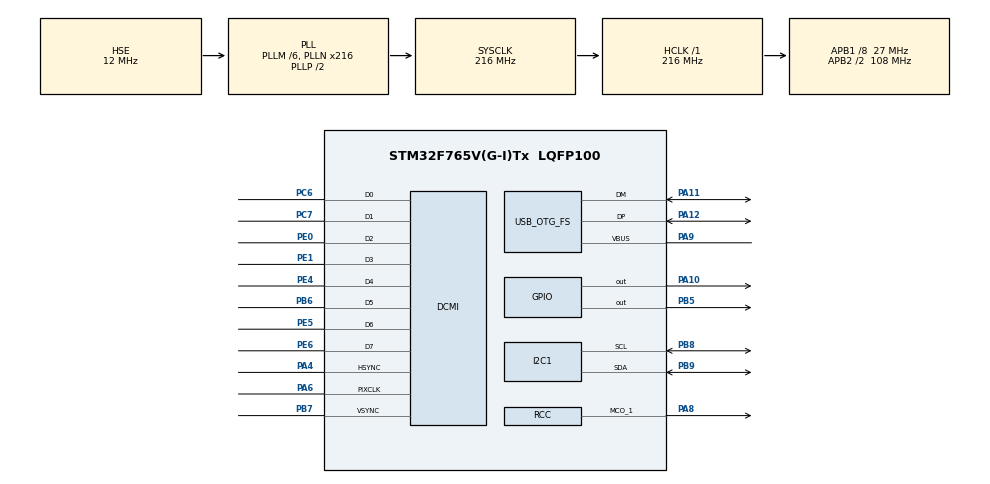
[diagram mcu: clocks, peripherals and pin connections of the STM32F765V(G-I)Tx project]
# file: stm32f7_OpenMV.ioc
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DCMI.PCKPolarity=DCMI_PCKPOLARITY_RISING
DCMI.VSPolarity=DCMI_VSPOLARITY_HIGH
Dma.DCMI.0.Direction=DMA_PERIPH_TO_MEMORY
Dma.DCMI.0.FIFOMode=DMA_FIFOMODE_ENABLE
Dma.DCMI.0.FIFOThreshold=DMA_FIFO_THRESHOLD_FULL
Dma.DCMI.0.Instance=DMA2_Stream1
Dma.DCMI.0.MemBurst=DMA_MBURST_INC4
Dma.DCMI.0.MemDataAlignment=DMA_MDATAALIGN_WORD
Dma.DCMI.0.MemInc=DMA_MINC_ENABLE
Dma.DCMI.0.Mode=DMA_CIRCULAR
Dma.DCMI.0.PeriphBurst=DMA_PBURST_SINGLE
Dma.DCMI.0.PeriphDataAlignment=DMA_PDATAALIGN_WORD
Dma.DCMI.0.PeriphInc=DMA_PINC_DISABLE
Dma.DCMI.0.Priority=DMA_PRIORITY_VERY_HIGH
Dma.Request0=DCMI
I2C1.Timing=0x00606A9B
Mcu.Family=STM32F7
Mcu.Name=STM32F765V(G-I)Tx
Mcu.Package=LQFP100
NVIC.DCMI_IRQn=true\:0\:0\:false\:false\:true\:true
NVIC.DMA2_Stream1_IRQn=true\:0\:0\:false\:false\:true\:false
NVIC.PriorityGroup=NVIC_PRIORITYGROUP_4
PA10.GPIO_ModeDefaultOutputPP=GPIO_MODE_OUTPUT_PP
PA10.GPIO_PuPd=GPIO_NOPULL
PA10.GPIO_Speed=GPIO_SPEED_FREQ_LOW
PA10.PinState=GPIO_PIN_RESET
PA10.Signal=GPIO_Output
PA11.Mode=Device_Only
PA11.Signal=USB_OTG_FS_DM
PA12.Mode=Device_Only
PA12.Signal=USB_OTG_FS_DP
PA4.GPIO_PuPd=GPIO_NOPULL
PA4.Mode=Slave_8_bits_External_Synchro
PA4.Signal=DCMI_HSYNC
PA6.GPIO_PuPd=GPIO_NOPULL
PA6.Mode=Slave_8_bits_External_Synchro
PA6.Signal=DCMI_PIXCLK
PA8.Mode=Clock-out-1
PA8.Signal=RCC_MCO_1
PA9.Mode=Activate_VBUS
PA9.Signal=USB_OTG_FS_VBUS
PB5.GPIO_ModeDefaultOutputPP=GPIO_MODE_OUTPUT_PP
PB5.GPIO_PuPd=GPIO_NOPULL
PB5.GPIO_Speed=GPIO_SPEED_FREQ_LOW
PB5.PinState=GPIO_PIN_RESET
PB5.Signal=GPIO_Output
PB6.GPIO_PuPd=GPIO_NOPULL
PB6.Mode=Slave_8_bits_External_Synchro
PB6.Signal=DCMI_D5
PB7.GPIO_PuPd=GPIO_NOPULL
PB7.Mode=Slave_8_bits_External_Synchro
PB7.Signal=DCMI_VSYNC
PB8.Mode=I2C
PB8.Signal=I2C1_SCL
PB9.Mode=I2C
PB9.Signal=I2C1_SDA
PC6.GPIO_PuPd=GPIO_NOPULL
PC6.Mode=Slave_8_bits_External_Synchro
PC6.Signal=DCMI_D0
PC7.GPIO_PuPd=GPIO_NOPULL
PC7.Mode=Slave_8_bits_External_Synchro
PC7.Signal=DCMI_D1
PE0.GPIO_PuPd=GPIO_NOPULL
PE0.Mode=Slave_8_bits_External_Synchro
PE0.Signal=DCMI_D2
PE1.GPIO_PuPd=GPIO_NOPULL
PE1.Mode=Slave_8_bits_External_Synchro
PE1.Signal=DCMI_D3
PE4.GPIO_PuPd=GPIO_NOPULL
PE4.Mode=Slave_8_bits_External_Synchro
PE4.Signal=DCMI_D4
PE5.GPIO_PuPd=GPIO_NOPULL
PE5.Mode=Slave_8_bits_External_Synchro
PE5.Signal=DCMI_D6
PE6.GPIO_PuPd=GPIO_NOPULL
PE6.Mode=Slave_8_bits_External_Synchro
PE6.Signal=DCMI_D7
PH0/OSC_IN.Mode=HSE-External-Oscillator
PH0/OSC_IN.Signal=RCC_OSC_IN
PH1/OSC_OUT.Mode=HSE-External-Oscillator
PH1/OSC_OUT.Signal=RCC_OSC_OUT
ProjectManager.HeapSize=0x200
ProjectManager.StackSize=0x400
ProjectManager.TargetToolchain=TrueSTUDIO
RCC.AHBFreq_Value=216000000
RCC.APB1CLKDivider=RCC_HCLK_DIV8
RCC.APB1Freq_Value=27000000
RCC.APB1TimFreq_Value=54000000
RCC.APB2CLKDivider=RCC_HCLK_DIV2
RCC.APB2Freq_Value=108000000
RCC.APB2TimFreq_Value=216000000
RCC.CortexFreq_Value=216000000
RCC.HCLKFreq_Value=216000000
RCC.HSE_VALUE=12000000
RCC.HSI_VALUE=16000000
RCC.LSE_VALUE=32768
RCC.PLLM=6
RCC.PLLN=216
RCC.PLLQ=9
RCC.SYSCLKFreq_VALUE=216000000
RCC.SYSCLKSource=RCC_SYSCLKSOURCE_PLLCLK
RCC.USBFreq_Value=48000000
RCC.VCOOutputFreq_Value=432000000
USB_OTG_FS.VirtualMode=Device_Only
board=stm32f7_OpenMV

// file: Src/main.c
/**
  ******************************************************************************
  * @file           : main.c
  * @brief          : Main program body
  ******************************************************************************
  ** This notice applies to any and all portions of this file
  * that are not between comment pairs USER CODE BEGIN and
  * USER CODE END. Other portions of this file, whether
  * inserted by the user or by software development tools
  * are owned by their respective copyright owners.
  *
  * COPYRIGHT(c) 2018 STMicroelectronics
  *
  * Redistribution and use in source and binary forms, with or without modification,
  * are permitted provided that the following conditions are met:
  *   1. Redistributions of source code must retain the above copyright notice,
  *      this list of conditions and the following disclaimer.
  *   2. Redistributions in binary form must reproduce the above copyright notice,
  *      this list of conditions and the following disclaimer in the documentation
  *      and/or other materials provided with the distribution.
  *   3. Neither the name of STMicroelectronics nor the names of its contributors
  *      may be used to endorse or promote products derived from this software
  *      without specific prior written permission.
  *
  * THIS SOFTWARE IS PROVIDED BY THE COPYRIGHT HOLDERS AND CONTRIBUTORS "AS IS"
  * AND ANY EXPRESS OR IMPLIED WARRANTIES, INCLUDING, BUT NOT LIMITED TO, THE
  * IMPLIED WARRANTIES OF MERCHANTABILITY AND FITNESS FOR A PARTICULAR PURPOSE ARE
  * DISCLAIMED. IN NO EVENT SHALL THE COPYRIGHT HOLDER OR CONTRIBUTORS BE LIABLE
  * FOR ANY DIRECT, INDIRECT, INCIDENTAL, SPECIAL, EXEMPLARY, OR CONSEQUENTIAL
  * DAMAGES (INCLUDING, BUT NOT LIMITED TO, PROCUREMENT OF SUBSTITUTE GOODS OR
  * SERVICES; LOSS OF USE, DATA, OR PROFITS; OR BUSINESS INTERRUPTION) HOWEVER
  * CAUSED AND ON ANY THEORY OF LIABILITY, WHETHER IN CONTRACT, STRICT LIABILITY,
  * OR TORT (INCLUDING NEGLIGENCE OR OTHERWISE) ARISING IN ANY WAY OUT OF THE USE
  * OF THIS SOFTWARE, EVEN IF ADVISED OF THE POSSIBILITY OF SUCH DAMAGE.
  *
  ******************************************************************************
  */
#include "main.h"
#include "stm32f7xx_hal.h"
#include "dcmi.h"
#include "dma.h"
#include "i2c.h"

#include "gpio.h"

/* USER CODE BEGIN Includes */
#include "math.h"
#include "jprocess.h"
#include "usb_device.h"
#include "ov7725.h"
#include "ov7725_regs.h"
#include "stm32f7xx_hal_dcmi.h"
#include <stdlib.h>
#include "kmeans.h"
#include "artp.h"

typedef struct
{
  __IO uint32_t ISR;   /*!< DMA interrupt status register */
  __IO uint32_t Reserved0;
  __IO uint32_t IFCR;  /*!< DMA interrupt flag clear register */
} DMA_Base_Registers;
/* USER CODE END Includes */

/* USER CODE BEGIN PV */
/* Private variables ---------------------------------------------------------*/
extern volatile uint8_t play_status;//apenas para debug no loop infinito
extern PCD_HandleTypeDef hpcd_USB_OTG_FS;

#define I2C_TIMEOUT     (1000)
extern const uint8_t default_regs[][2];

extern unsigned char inBMP2[];

//double buffer for DMA destination/JPEG source
uint8_t raw_image0[IMG_HEIGHT][IMG_WIDTH] __attribute__ ((aligned (64),section(".dtcmram")));
uint8_t raw_image1[IMG_HEIGHT][IMG_WIDTH] __attribute__ ((aligned (64),section(".dtcmram")));
uint8_t* raw_image;//intended for jpeg compression
uint8_t* dma_buffer;//intended for DMA xfers

HAL_StatusTypeDef status;
#define NSAMPLES 20
int32_t samples[NSAMPLES];

uint16_t last_jpeg_frame_size = 0;
volatile uint8_t jpeg_encode_done = 0;//1 - encode stopped flag
volatile uint8_t jpeg_encode_enabled = 0;//1 - capture and encoding enabled

double circle_x = 0;
double circle_y = 0;
double angle = 0;
uint8_t color;

/* USER CODE END PV */

void SystemClock_Config(void);

/* USER CODE BEGIN PFP */
/* Private function prototypes -----------------------------------------------*/
void OTG_FS_IRQHandler(void);
void sensor_config();
int camera_writeb(uint8_t slv_addr, uint8_t reg_addr, uint8_t reg_data);
void switch_dma_jpeg_buffers(void);
int** filter(uint8_t* raw_image,uint8_t threshold,int* points_count);
void TimingDelay_Decrement(void);
void Delay(__IO uint32_t nTime);
void Fail_Handler(void);
/* USER CODE END PFP */

int main(void)
{
  /* USER CODE BEGIN 1 */
  int i = 0;
  /* USER CODE END 1 */

  /* MCU Configuration----------------------------------------------------------*/

  /* Reset of all peripherals, Initializes the Flash interface and the Systick. */
  HAL_Init();

  /* Configure the system clock */
  SystemClock_Config();

  /* USER CODE BEGIN SysInit */
  //SCB_CleanDCache_by_Addr((uint32_t*)inBMP2,320*240);//flush D cache for source memory address. Do I need to wait?
  //SCB_InvalidateDCache_by_Addr((uint32_t*)raw_image,320*240);//invalidate D cache for destin. memory addr. Need to wait?

  /* USER CODE END SysInit */

  /* Initialize all configured peripherals */
  MX_GPIO_Init();
  //MX_DMA_Init();
  MX_I2C1_Init();

  //MX_DCMI_Init();

  /* USER CODE BEGIN 2 */

  //Configuração dos LEDs
  __HAL_RCC_GPIOC_CLK_ENABLE();

  GPIO_InitTypeDef GPIO_InitStruct;
  GPIO_InitStruct.Pin = GPIO_PIN_0 |GPIO_PIN_1 |GPIO_PIN_2 ;
  GPIO_InitStruct.Speed = GPIO_SPEED_FREQ_MEDIUM;
  GPIO_InitStruct.Mode = GPIO_MODE_OUTPUT_PP;
  GPIO_InitStruct.Pull = GPIO_NOPULL;
  HAL_GPIO_Init(GPIOC, &GPIO_InitStruct);

  //Os LEDS dessa placa são ATIVADOS EM NÍVEL BAIXO
  HAL_GPIO_WritePin(GPIOC,GPIO_PIN_0,GPIO_PIN_SET);//red off
  HAL_GPIO_WritePin(GPIOC,GPIO_PIN_1,GPIO_PIN_SET);//green off
  HAL_GPIO_WritePin(GPIOC,GPIO_PIN_2,GPIO_PIN_SET);//blue off

  MX_USB_DEVICE_Init();
  //HAL_GPIO_WritePin(GPIOC,GPIO_PIN_2,GPIO_PIN_RESET);//led azul ON para DEBUG

  //camera uses I2C1, PB8=SCL and PB9=SDA
  __HAL_RCC_GPIOB_CLK_ENABLE();

  HAL_GPIO_WritePin(GPIOA, GPIO_PIN_10, GPIO_PIN_RESET);//camera resets
  HAL_GPIO_WritePin(GPIOB, GPIO_PIN_5, GPIO_PIN_RESET);//camera NOT in powerdown

  HAL_Delay(400);
  HAL_GPIO_WritePin(GPIOA, GPIO_PIN_10, GPIO_PIN_SET);//camera restarts
  HAL_Delay(40);

  uint8_t j=0;
  for(j=0x40;j<0x44;j+=2){
	if(HAL_I2C_IsDeviceReady(&hi2c1,j,10, I2C_TIMEOUT)==HAL_OK){
	  //HAL_GPIO_WritePin(GPIOC,GPIO_PIN_1,GPIO_PIN_RESET);//led green on if camera is present
	  break;
	}
  }
  //HAL_Delay(100);

  //test if camera is present
  uint8_t PID_REG = PID;
  uint8_t pid = 0;

  //2-phase write
  status = HAL_I2C_Master_Transmit(&hi2c1,OV7725_I2C_ADDRESS,&PID_REG,1,I2C_TIMEOUT);//qual a unidade do timeout? ms

  //2-phase read
  status = HAL_I2C_Master_Receive(&hi2c1,OV7725_I2C_ADDRESS,&pid,1,I2C_TIMEOUT);

  //testa se obteve a resposta esperada
  if(pid == OV7725_ID){
	  HAL_GPIO_WritePin(GPIOC,GPIO_PIN_1,GPIO_PIN_RESET);//led green on if camera is present
  }

  //CONFIGURAR AO MENOS COM7 E COM10 NA CÂMERA
  sensor_config();//configura os registradores da câmera
  MX_DMA_Init();
  MX_DCMI_Init();

  __HAL_RCC_TIM6_CLK_ENABLE();
  TIM_HandleTypeDef htim;
  htim.Instance	= TIM6;
  htim.Init.CounterMode = TIM_COUNTERMODE_UP;
  htim.Init.Prescaler = 54000;//TIM6CLK=2xAPB1CLK=54MHz, cada tick é 1ms
  //htim.Init.ClockDivision = ;
  htim.Init.Period = 0xFFFF;//conta até 65535 e dá o reload
  htim.Init.AutoReloadPreload = TIM_AUTORELOAD_PRELOAD_DISABLE;
  HAL_TIM_Base_Init(&htim);//configura o timer

  jpeg_encode_done = 1;
  raw_image = (uint8_t*)raw_image0;
  dma_buffer= (uint8_t*)raw_image1;
  HAL_DCMI_Start_DMA(&hdcmi, DCMI_MODE_SNAPSHOT, (uint32_t)dma_buffer, IMG_WIDTH*IMG_HEIGHT/4);//size=320*240/4

  int** points;//pontos que serão passados ao k-means (argumento data)
  uint8_t threshold=0xFF; //limiar inferior (mínimo) para o ponto passar pelo filtro
  int points_stored = 0;//número de pontos claros detectados

  int k=1;//k: k do K-Means
  float ** centroids=(float **)calloc(k,sizeof(float *));

  for(int i=0;i<k;i++){
	  centroids[i]=(float*)calloc(2,sizeof(float));
  }

  /* USER CODE END 2 */

  /* Infinite loop */
  while (1)
  {

  /* USER CODE BEGIN 3 */
	  //i++;
	  HAL_GPIO_WritePin(GPIOC,GPIO_PIN_0,(GPIO_PinState)(!(play_status==2)));//red led is on when running
	  //HAL_GPIO_WritePin(GPIOC,GPIO_PIN_1,(GPIO_PinState)(!(status!=HAL_OK)));//red green ON if something is NOT OK
	  //HAL_GPIO_WritePin(GPIOC,GPIO_PIN_2,(GPIO_PinState)(!(DCMI->SR & DCMI_SR_FNE)));//blue led is on when running

	  if((hdcmi.DMA_Handle->State == HAL_DMA_STATE_READY) && (jpeg_encode_done==1)){//DMA ocioso e compressão terminada
		  jpeg_encode_done = 0;
		  switch_dma_jpeg_buffers();
		  jpeg_encode_enabled = 1;
		  HAL_DCMI_Start_DMA(&hdcmi, DCMI_MODE_SNAPSHOT, (uint32_t)dma_buffer, IMG_WIDTH*IMG_HEIGHT/4);//size=320*240/4
		  points = filter(raw_image,threshold,&points_stored);//espaço é alocado para points usando malloc
	  }

	  if (jpeg_encode_enabled == 1)
		{
		  //HAL_DCMI_Suspend(&hdcmi);//para evitar que novos frames recebidos atrapalhem a compressão

		  jpeg_encode_enabled = 0;
		  //jpeg_encode_done = 0;

		  //TESTE: pinta de preto os pontos claros detectados
		  /*for(int i=0;i<points_stored;i++){
			  raw_image[IMG_WIDTH*points[i][0]+points[i][1]]=0x00;
		  }*/

		  if(points_stored){
			  if(k_means(points,points_stored,2,k,0.001,centroids)==K_MEANS_OK){
				  //draw black point at centroid position
				  /*for(int i=0;i<k;i++){
					  raw_image[IMG_WIDTH*(int)(centroids[i][0])+(int)(centroids[i][1])]=0x00;
				  }*/
				  //draw QR code, its center is the cluster's centroid
				  for(int i=0;i<k;i++){
					  draw_QRcode(raw_image,(int)centroids[i][1],(int)centroids[i][0],IMG_WIDTH,IMG_HEIGHT);
					  //draw_QRcode(raw_image,IMG_WIDTH/2,IMG_HEIGHT/2,IMG_WIDTH,IMG_HEIGHT);
				  }
			  }
		  }

		  //começa a contar o tempo para codificação de um frame
		  HAL_TIM_Base_Start(&htim);
		  int32_t milisegundos = htim.Instance->CNT;

		  last_jpeg_frame_size = jprocess();//Data source (image) for jpeg encoder can be switched in "jprocess" function.
		  milisegundos = htim.Instance->CNT - milisegundos;//pausa a contagem de tempo
		  HAL_TIM_Base_Stop(&htim);

		  samples[i%NSAMPLES] = milisegundos;//grava a nova amostra de tempo
		  i++;

		  int point_index=0;
		  while(point_index < points_stored)
		  {
			  free(points[point_index]);
			  point_index++;
		  }
		  free(points);//usamos points, precisamos liberar a memória

		  jpeg_encode_done = 1;//encoding ended
		  HAL_Delay(1);//pôr menos do que isso sobrecarrega o OTG FS (max 1,5MB/s)
		  //HAL_DCMI_Start_DMA(&hdcmi, DCMI_MODE_SNAPSHOT, (uint32_t)dma_buffer, IMG_WIDTH*IMG_HEIGHT/4);//size=320*240/4
		  //hdcmi.DMA_Handle->Instance->CR |= DMA_SxCR_EN;//Enables DMA again (disabled in DMA2_IRQ)
		  //HAL_DCMI_Resume(&hdcmi);
		  //HAL_GPIO_TogglePin(GPIOC,GPIO_PIN_2);//Toggles blue led
		}

  }
  /* USER CODE END 3 */

}

void SystemClock_Config(void)
{

  RCC_OscInitTypeDef RCC_OscInitStruct;
  RCC_ClkInitTypeDef RCC_ClkInitStruct;
  RCC_PeriphCLKInitTypeDef PeriphClkInitStruct;

    /**Configure the main internal regulator output voltage
    */
  __HAL_RCC_PWR_CLK_ENABLE();

  __HAL_PWR_VOLTAGESCALING_CONFIG(PWR_REGULATOR_VOLTAGE_SCALE1);

    /**Initializes the CPU, AHB and APB busses clocks
    */
  RCC_OscInitStruct.OscillatorType = RCC_OSCILLATORTYPE_HSI|RCC_OSCILLATORTYPE_HSE;
  RCC_OscInitStruct.HSEState = RCC_HSE_ON;
  RCC_OscInitStruct.HSIState = RCC_HSI_ON;
  RCC_OscInitStruct.HSICalibrationValue = 16;
  RCC_OscInitStruct.PLL.PLLState = RCC_PLL_ON;
  RCC_OscInitStruct.PLL.PLLSource = RCC_PLLSOURCE_HSE;
  RCC_OscInitStruct.PLL.PLLM = 6;
  RCC_OscInitStruct.PLL.PLLN = 216;
  RCC_OscInitStruct.PLL.PLLP = RCC_PLLP_DIV2;
  RCC_OscInitStruct.PLL.PLLQ = 9;
  if (HAL_RCC_OscConfig(&RCC_OscInitStruct) != HAL_OK)
  {
    _Error_Handler(__FILE__, __LINE__);
  }

    /**Activate the Over-Drive mode
    */
  if (HAL_PWREx_EnableOverDrive() != HAL_OK)
  {
    _Error_Handler(__FILE__, __LINE__);
  }

    /**Initializes the CPU, AHB and APB busses clocks
    */
  RCC_ClkInitStruct.ClockType = RCC_CLOCKTYPE_HCLK|RCC_CLOCKTYPE_SYSCLK
                              |RCC_CLOCKTYPE_PCLK1|RCC_CLOCKTYPE_PCLK2;
  RCC_ClkInitStruct.SYSCLKSource = RCC_SYSCLKSOURCE_PLLCLK;
  RCC_ClkInitStruct.AHBCLKDivider = RCC_SYSCLK_DIV1;
  RCC_ClkInitStruct.APB1CLKDivider = RCC_HCLK_DIV8;
  RCC_ClkInitStruct.APB2CLKDivider = RCC_HCLK_DIV2;

  if (HAL_RCC_ClockConfig(&RCC_ClkInitStruct, FLASH_LATENCY_7) != HAL_OK)
  {
    _Error_Handler(__FILE__, __LINE__);
  }

  PeriphClkInitStruct.PeriphClockSelection = RCC_PERIPHCLK_I2C1|RCC_PERIPHCLK_CLK48;
  PeriphClkInitStruct.I2c1ClockSelection = RCC_I2C1CLKSOURCE_PCLK1;
  PeriphClkInitStruct.Clk48ClockSelection = RCC_CLK48SOURCE_PLL;
  if (HAL_RCCEx_PeriphCLKConfig(&PeriphClkInitStruct) != HAL_OK)
  {
    _Error_Handler(__FILE__, __LINE__);
  }

  HAL_RCC_MCOConfig(RCC_MCO1, RCC_MCO1SOURCE_HSI, RCC_MCODIV_1);

    /**Configure the Systick interrupt time
    */
  HAL_SYSTICK_Config(HAL_RCC_GetHCLKFreq()/1000);

    /**Configure the Systick
    */
  HAL_SYSTICK_CLKSourceConfig(SYSTICK_CLKSOURCE_HCLK);

  /* SysTick_IRQn interrupt configuration */
  HAL_NVIC_SetPriority(SysTick_IRQn, 0, 0);
}

/* USER CODE BEGIN 4 */
/**
* @brief This function handles USB On The Go FS global interrupt.
*/
void OTG_FS_IRQHandler(void)
{
  /* USER CODE BEGIN OTG_FS_IRQn 0 */

  /* USER CODE END OTG_FS_IRQn 0 */
  HAL_PCD_IRQHandler(&hpcd_USB_OTG_FS);
  /* USER CODE BEGIN OTG_FS_IRQn 1 */

  /* USER CODE END OTG_FS_IRQn 1 */
}

void sensor_config()
{
    int i=0;
    const uint8_t (*regs)[2];

    // Reset all registers
    camera_writeb(OV7725_I2C_ADDRESS, COM7, COM7_RESET);

    // Delay 10 ms
    HAL_Delay(10);

    // Write default registers
    for (i=0, regs = default_regs; regs[i][0]; i++) {
        camera_writeb(OV7725_I2C_ADDRESS, regs[i][0], regs[i][1]);
    }

    // Delay
    HAL_Delay(30);

    return;
}

int camera_writeb(uint8_t slv_addr, uint8_t reg_addr, uint8_t reg_data)
{
    int ret=0;
    uint8_t buf[] = {reg_addr, reg_data};

    __disable_irq();
    if(HAL_I2C_Master_Transmit(&hi2c1, slv_addr, buf, 2, I2C_TIMEOUT) != HAL_OK) {
        ret = -1;
    }
    __enable_irq();
    return ret;
}

void switch_dma_jpeg_buffers(void){
	if(raw_image == (uint8_t*)raw_image0){
		raw_image = (uint8_t*)raw_image1;
		dma_buffer = (uint8_t*)raw_image0;
	}else{
		raw_image = (uint8_t*)raw_image0;
		dma_buffer = (uint8_t*)raw_image1;
	}
	return;
}

int** filter(uint8_t* image,uint8_t threshold,int* points_count){
	#define INITIAL_CAPACITY 10
	//abaixo está definido o número máximo de vezes que podemos dobrar o espaço alocado
	#define MAX_RESIZES 4

	int capacity = INITIAL_CAPACITY;//capacity: número de pontos de que podem ser armazenados
	int** ptr=calloc(capacity,sizeof(int*));

	int stored=0;//stored: número de pontos EFETIVAMENTE armazenados
	int resizes=0;//resizes: número de vezes que precisamos aumentar a capacidade do vetor
	int saturated_inc=(1<<MAX_RESIZES)*INITIAL_CAPACITY;//saturated_inc: tamanho dos incrementos de tamanho de ptr após este "saturar"
	for(int i=0;i<IMG_HEIGHT;i++){//i:linha da img menor
		for(int j=0;j<IMG_WIDTH;j++){//j:coluna da img menor
			if(image[IMG_WIDTH*i+j] >= threshold){
				if(stored == capacity){//verifica se precisa de mais espaço
					if(resizes <= MAX_RESIZES){//verifica se pode dobrar o espaço
						int** new_ptr = realloc(ptr,2*capacity*sizeof(int*));

						if(new_ptr!=NULL)
							ptr=new_ptr;
						else
							return ptr;//se malloc falhar, retornamos o que conseguimos

						ptr[stored]=malloc(2*sizeof(int));
						ptr[stored][0]=i;//y, cf kmeans
						ptr[stored][1]=j;//x, cf kmeans
						stored++;
						capacity *= 2;//dobra capacity
						resizes++;
					}else{//a partir de agora, aumenta "linearmente" o armazenamento, o incremento "satura"
						int** new_ptr = realloc(ptr,(capacity+saturated_inc)*sizeof(int*));

						if(new_ptr!=NULL)
							ptr=new_ptr;
						else
							return ptr;//se malloc falhar, retornamos o que conseguimos

						ptr[stored]=malloc(2*sizeof(int));
						ptr[stored][0]=i;//y, cf kmeans
						ptr[stored][1]=j;//x, cf kmeans
						stored++;
						capacity += saturated_inc;//atualiza capacity
						resizes++;
					}
				}else{//se não precisa de mais espaço, apenas aloca o novo ponto
					ptr[stored]=malloc(2*sizeof(int));
					ptr[stored][0]=i;//y, cf kmeans
					ptr[stored][1]=j;//x, cf kmeans
					stored++;
				}
			}
		}
	}
	if(stored < capacity && stored > 0){//libera espaço que não seja necessário
		ptr = realloc(ptr,stored*sizeof(int*));
	}
	*points_count=stored;
	return ptr;
}

void delay_ms(uint32_t ms)
{
        volatile uint32_t nCount;
        //RCC_ClocksTypeDef RCC_Clocks;
        //RCC_GetClocksFreq (&RCC_Clocks);
        //nCount=(RCC_Clocks.HCLK_Frequency/10000)*ms;
        nCount=(HAL_RCC_GetHCLKFreq()/10000)*ms;
        for (; nCount!=0; nCount--);
}
/* USER CODE END 4 */

void _Error_Handler(char *file, int line)
{
  while(1)
  {
  }
}

/************************ (C) COPYRIGHT STMicroelectronics *****END OF FILE****/
